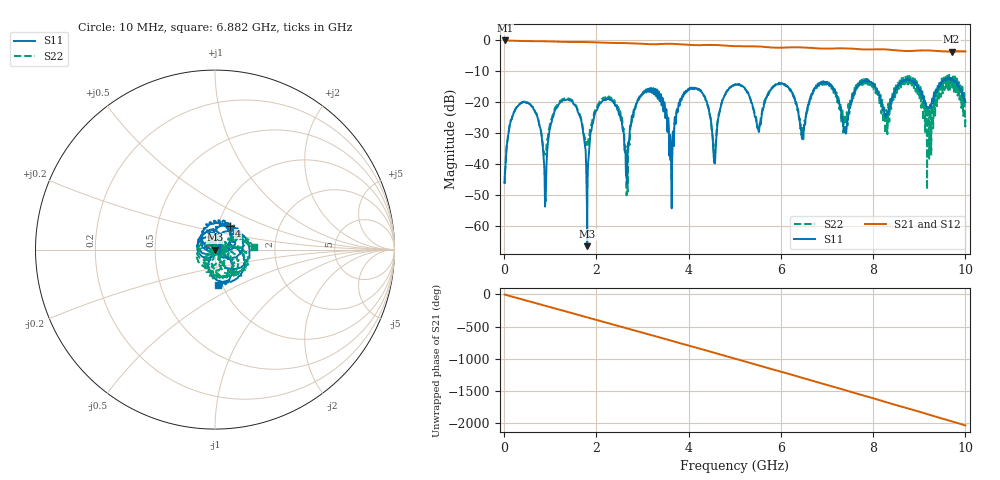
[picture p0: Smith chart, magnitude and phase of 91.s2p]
!Keysight Technologies,E5080B,MY59205177,A.15.75.32
!Date: Friday, February 23, 2024 03:34:41
!Correction: S11(Cdelta 2-Port  )
!S21(Cdelta 2-Port  )
!S12(Cdelta 2-Port  )
!S22(Cdelta 2-Port  )
!S2P File: Measurements: S11, S21, S12, S22:
# Hz S  dB  R 50
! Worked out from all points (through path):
!   10001 points, 10 MHz to 10 GHz, reference 50 ohm
!   highest |S21| = -0.02 dB at 14 MHz (marker M1); lowest = -3.7 dB at 9.701 GHz (marker M2)
!   group delay of S21, straight-line fit = 565 ps
!   lowest |S11| = -66.6 dB at 1.8 GHz (marker M3), VSWR 1.00, Z = 50 - j0.0459 ohm
!   |S11| at or under -10 dB: start of sweep to end of sweep
!   |S22| runs from -50.1 to -11.1 dB; largest |S21 - S12| = 0.0016
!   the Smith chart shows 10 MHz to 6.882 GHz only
!   S11 on the Smith chart (normalised r, x): 10 MHz: 1.01, -0.00; 4 GHz: 1.13, +0.31; 6.882 GHz: 0.95, -0.40
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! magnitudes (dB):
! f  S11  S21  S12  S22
! 10 MHz  -46.1  0.0  0.0  -45.9
! 14 MHz  -43.3  0.0  0.0  -45.5
! 374.6 MHz  -20.2  -0.2  -0.2  -20.1
! 888.1 MHz  -52.9  -0.3  -0.3  -36.7
! 1.178 GHz  -20.8  -0.4  -0.4  -20.2
! 1.675 GHz  -26.1  -0.5  -0.5  -25.6
! 1.8 GHz  -66.6  -0.5  -0.5  -33.2
! 2.109 GHz  -19.9  -0.7  -0.7  -19.0
! 2.662 GHz  -46.4  -0.9  -0.9  -43.7
! 2.892 GHz  -19.3  -1.0  -1.0  -20.0
! 3.341 GHz  -17.4  -1.2  -1.2  -17.7
! 3.627 GHz  -47.1  -1.1  -1.1  -42.1
! 4 GHz  -16.1  -1.4  -1.4  -15.9
! 4.561 GHz  -39.5  -1.5  -1.5  -38.5
! 5.005 GHz  -14.2  -1.9  -1.9  -14.5
! 5.517 GHz  -29.4  -2.0  -2.0  -28.4
! 6.67 GHz  -17.3  -2.4  -2.4  -17.0
! 6.882 GHz  -13.9  -2.6  -2.6  -13.4
! 7.385 GHz  -29.6  -2.6  -2.6  -26.0
! 8.336 GHz  -22.7  -3.0  -3.0  -20.9
! 9.701 GHz  -12.2  -3.7  -3.7  -13.8
! 10 GHz  -20.0  -3.6  -3.6  -25.5
